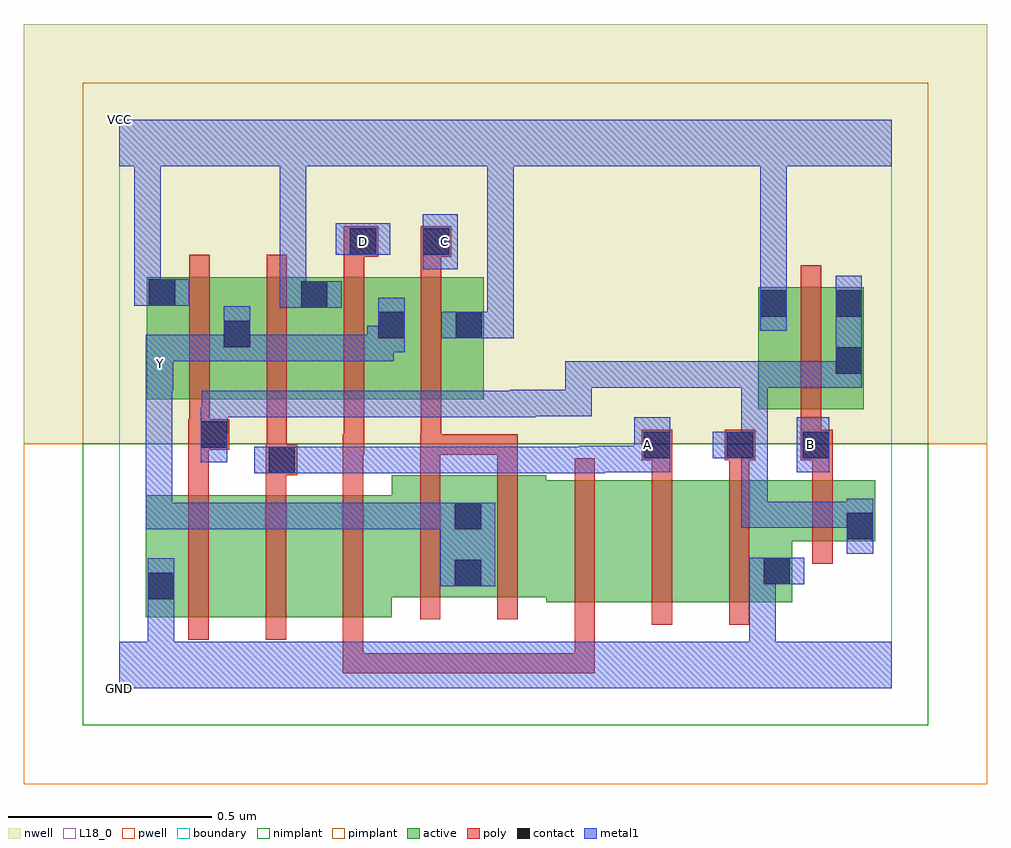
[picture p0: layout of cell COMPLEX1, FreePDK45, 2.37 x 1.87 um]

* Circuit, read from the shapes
.subckt COMPLEX1 A B C D GND VCC Y
M1 n1 n2 GND VSUBS nfet w=0.3u l=0.05u
M2 n3 A n1 VSUBS nfet w=0.3u l=0.05u
M3 n4 D n3 VSUBS nfet w=0.3u l=0.05u
M4 Y C n4 VSUBS nfet w=0.3u l=0.05u
M5 n5 C Y VSUBS nfet w=0.3u l=0.05u
M6 n6 D n5 VSUBS nfet w=0.3u l=0.05u
M7 n7 A n6 VSUBS nfet w=0.3u l=0.05u
M8 GND n2 n7 VSUBS nfet w=0.3u l=0.05u
M9 n2 B GND VSUBS nfet w=0.15u l=0.05u
M10 Y n2 VCC n8 pfet w=0.3u l=0.05u
M11 VCC A Y n8 pfet w=0.3u l=0.05u
M12 Y D VCC n8 pfet w=0.3u l=0.05u
M13 VCC C Y n8 pfet w=0.3u l=0.05u
M14 n2 B VCC n8 pfet w=0.3u l=0.05u
.ends

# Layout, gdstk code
import gdstk
lib = gdstk.Library(unit=1e-6, precision=1e-09)
def R(c, l, rs):  # rectangles x0, y0, x1, y1
    for r in rs: c.add(gdstk.rectangle(r[:2], r[2:], *l))
def A(c, l, x, y, w, h, nx, ny, dx, dy):  # array of equal rectangles
    R(c, l, [(x+i*dx, y+j*dy, x+i*dx+w, y+j*dy+h) for i in range(nx) for j in range(ny)])
active = (1, 0)
pwell = (2, 0)
nwell = (3, 0)
nimplant = (4, 0)
pimplant = (5, 0)
poly = (9, 0)
contact = (10, 0)
metal1 = (11, 0)
L18_0 = (18, 0)
boundary = (235, 0)

complex1 = lib.new_cell('COMPLEX1')
A(complex1, active, 0.252, 0.712, 0.265, 0.3, 3, 1, 0.19, 0)
R(complex1, active, [(0.065,0.175,0.29,0.475), (0.065,0.175,0.14,0.475), (0.29,0.175,0.48,0.475), (0.48,0.175,0.67,0.475), (1.05,0.212,1.24,0.512), (1.24,0.212,1.43,0.512), (1.43,0.212,1.655,0.512), (0.67,0.225,0.895,0.525), (0.82,0.225,1.05,0.525), (0.82,0.225,0.895,0.517), (1.58,0.252,1.655,0.362), (1.58,0.362,1.86,0.512), (1.785,0.362,1.86,0.512), (1.572,0.687,1.647,0.987), (1.572,0.687,1.832,0.987), (1.757,0.687,1.832,0.985), (0.067,0.712,0.142,1.012), (0.067,0.712,0.327,1.012), (0.822,0.712,0.897,1.012), (0.252,0.737,0.327,0.957), (0.632,0.775,0.707,0.967), (0.442,0.867,0.517,1.012)])
R(complex1, pwell, [(-0.235,-0.235,2.135,0.602)])
R(complex1, nwell, [(-0.235,0.602,2.135,1.635)])
R(complex1, nimplant, [(-0.09,-0.09,1.99,0.602)])
R(complex1, pimplant, [(-0.09,0.602,1.99,1.49)])
A(complex1, poly, 0.17, 0.12, 0.05, 0.41, 3, 1, 0.19, 0)
A(complex1, poly, 1.12, 0.157, 0.05, 0.41, 3, 1, 0.19, 0)
A(complex1, poly, 0.172, 0.657, 0.05, 0.41, 4, 1, 0.19, 0)
R(complex1, poly, [(0.55,0.037,0.6,0.087), (0.55,0.037,0.6,0.087), (0.55,0.037,0.6,0.087), (0.55,0.037,0.847,0.087), (0.55,0.037,0.6,0.17), (0.797,0.037,0.847,0.087), (0.797,0.037,1.037,0.087), (0.987,0.037,1.037,0.087), (0.987,0.037,1.037,0.087), (0.987,0.037,1.037,0.087), (0.987,0.037,1.17,0.087), (1.12,0.037,1.17,0.207), (1.12,0.037,1.17,0.087), (1.12,0.037,1.17,0.087), (1.12,0.037,1.17,0.087), (0.74,0.17,0.79,0.58), (0.93,0.17,0.98,0.58), (1.705,0.307,1.755,0.567), (0.17,0.48,0.22,0.637), (0.36,0.48,0.41,0.575), (0.55,0.48,0.6,0.625), (1.31,0.517,1.36,0.612), (1.5,0.517,1.55,0.612), (1.705,0.517,1.755,0.612), (0.36,0.525,0.437,0.6), (0.74,0.53,0.79,0.625), (0.93,0.53,0.98,0.625), (0.362,0.55,0.412,0.707), (1.285,0.562,1.36,0.637), (1.49,0.562,1.565,0.637), (1.677,0.562,1.755,0.637), (0.55,0.575,0.602,0.625), (0.552,0.575,0.602,0.707), (0.74,0.575,0.792,0.625), (0.742,0.575,0.792,0.625), (0.742,0.575,0.792,0.625), (0.742,0.575,0.98,0.625), (0.742,0.575,0.792,0.707), (0.93,0.575,0.98,0.625), (0.17,0.587,0.27,0.662), (1.677,0.587,1.727,0.682), (0.172,0.612,0.222,0.707), (1.677,0.632,1.727,1.042), (0.552,1.017,0.602,1.112), (0.742,1.017,0.792,1.112), (0.552,1.062,0.637,1.137), (0.742,1.062,0.817,1.137)])
R(complex1, contact, [(0.07,0.22,0.135,0.285), (0.825,0.252,0.89,0.317), (1.585,0.257,1.65,0.322), (1.79,0.367,1.855,0.432), (0.825,0.392,0.89,0.457), (0.367,0.53,0.432,0.595), (1.29,0.567,1.355,0.632), (1.495,0.567,1.56,0.632), (1.682,0.567,1.747,0.632), (0.2,0.592,0.265,0.657), (1.762,0.775,1.827,0.84), (0.257,0.84,0.322,0.905), (0.637,0.862,0.702,0.927), (0.827,0.862,0.892,0.927), (1.577,0.915,1.642,0.98), (1.762,0.915,1.827,0.98), (0.447,0.937,0.512,1.002), (0.072,0.942,0.137,1.007), (0.567,1.067,0.632,1.132), (0.747,1.067,0.812,1.132)])
R(complex1, metal1, [(0,0,1.9,0.115), (0.07,0.05,0.135,0.115), (0.07,0.05,0.135,0.115), (0.07,0.05,0.135,0.25), (1.55,0.05,1.615,0.322), (0.07,0.185,0.135,0.32), (0.79,0.252,0.925,0.457), (1.55,0.257,1.615,0.322), (1.55,0.257,1.615,0.322), (1.55,0.257,1.685,0.322), (1.79,0.332,1.855,0.467), (0.065,0.392,0.13,0.457), (0.065,0.392,0.13,0.457), (0.065,0.392,0.13,0.457), (0.065,0.392,0.27,0.457), (0.065,0.392,0.13,0.797), (0.205,0.392,0.27,0.457), (0.205,0.392,0.46,0.457), (0.395,0.392,0.46,0.457), (0.395,0.392,0.46,0.457), (0.395,0.392,0.46,0.457), (0.395,0.392,0.675,0.457), (0.61,0.392,0.675,0.457), (0.61,0.392,0.675,0.457), (0.61,0.392,0.675,0.457), (0.61,0.392,0.855,0.457), (0.79,0.392,0.855,0.457), (0.79,0.392,0.855,0.457), (1.53,0.395,1.595,0.46), (1.53,0.395,1.855,0.46), (1.53,0.395,1.595,0.632), (1.79,0.395,1.855,0.46), (1.79,0.395,1.855,0.46), (0.332,0.53,0.467,0.595), (0.402,0.53,0.467,0.595), (0.402,0.53,0.467,0.595), (0.402,0.53,0.675,0.595), (0.61,0.53,0.675,0.595), (0.61,0.53,0.675,0.595), (0.61,0.53,0.675,0.595), (0.61,0.53,0.887,0.595), (0.822,0.53,0.887,0.595), (0.822,0.53,0.887,0.595), (0.822,0.53,0.887,0.595), (0.822,0.53,1.025,0.595), (0.96,0.53,1.025,0.595), (0.96,0.53,1.025,0.595), (0.96,0.53,1.025,0.595), (0.96,0.53,1.195,0.595), (1.13,0.53,1.195,0.595), (1.13,0.53,1.195,0.595), (1.13,0.53,1.195,0.597), (1.13,0.532,1.332,0.597), (1.267,0.532,1.355,0.667), (1.667,0.532,1.747,0.667), (0.2,0.557,0.265,0.692), (1.46,0.567,1.595,0.632), (1.53,0.567,1.595,0.632), (1.53,0.567,1.595,0.632), (1.53,0.567,1.595,0.805), (0.2,0.627,0.267,0.692), (0.202,0.627,0.267,0.692), (0.202,0.627,0.267,0.732), (0.202,0.667,0.267,0.732), (0.202,0.667,0.46,0.732), (0.395,0.667,0.46,0.732), (0.395,0.667,0.46,0.732), (0.395,0.667,0.46,0.732), (0.395,0.667,0.605,0.732), (0.54,0.667,0.605,0.732), (0.54,0.667,0.605,0.732), (0.54,0.667,0.605,0.732), (0.54,0.667,0.887,0.732), (0.822,0.667,0.887,0.732), (0.822,0.667,0.887,0.732), (0.822,0.667,0.887,0.732), (0.822,0.667,1.025,0.732), (0.96,0.667,1.025,0.732), (0.96,0.667,1.025,0.732), (0.96,0.667,1.025,0.735), (0.96,0.67,1.162,0.735), (1.097,0.67,1.162,0.735), (1.097,0.67,1.162,0.735), (1.097,0.67,1.162,0.805), (0.065,0.732,0.132,0.87), (1.097,0.74,1.387,0.805), (1.322,0.74,1.387,0.805), (1.322,0.74,1.387,0.805), (1.322,0.74,1.387,0.805), (1.322,0.74,1.595,0.805), (1.53,0.74,1.595,0.805), (1.53,0.74,1.595,0.805), (1.53,0.74,1.595,0.805), (1.53,0.74,1.827,0.805), (1.762,0.74,1.827,0.805), (1.762,0.74,1.827,0.805), (1.762,0.74,1.827,1.015), (0.065,0.805,0.13,0.87), (0.065,0.805,0.13,0.87), (0.065,0.805,0.13,0.87), (0.065,0.805,0.13,0.87), (0.065,0.805,0.13,0.87), (0.065,0.805,0.13,0.87), (0.065,0.805,0.322,0.87), (0.257,0.805,0.322,0.94), (0.257,0.805,0.46,0.87), (0.395,0.805,0.46,0.87), (0.395,0.805,0.46,0.87), (0.395,0.805,0.46,0.87), (0.395,0.805,0.675,0.87), (0.61,0.805,0.675,0.892), (0.61,0.827,0.702,0.892), (0.637,0.827,0.702,0.962), (0.792,0.862,0.97,0.927), (0.905,0.862,0.97,0.927), (0.905,0.862,0.97,0.927), (0.905,0.862,0.97,0.927), (0.905,0.862,0.97,0.927), (0.905,0.862,0.97,1.35), (1.577,0.88,1.642,1.015), (0.395,0.937,0.46,1.35), (0.395,0.937,0.547,1.002), (0.037,0.942,0.102,1.007), (0.037,0.942,0.102,1.007), (0.037,0.942,0.172,1.007), (0.037,0.942,0.102,1.35), (1.577,0.95,1.642,1.015), (1.577,0.95,1.642,1.015), (1.577,0.95,1.642,1.015), (1.577,0.95,1.642,1.015), (1.577,0.95,1.642,1.35), (0.747,1.032,0.832,1.167), (0.532,1.067,0.667,1.145), (0,1.285,1.9,1.4), (0.037,1.285,0.102,1.35), (0.037,1.285,0.102,1.35), (0.395,1.285,0.46,1.35), (0.395,1.285,0.46,1.35), (0.395,1.285,0.46,1.35), (0.395,1.285,0.46,1.35)])
R(complex1, L18_0, [(0,0,1.9,0.115), (0.07,0.05,0.135,0.115), (0.07,0.05,0.135,0.115), (0.07,0.05,0.135,0.25), (1.55,0.05,1.615,0.322), (0.07,0.185,0.135,0.32), (0.79,0.252,0.925,0.457), (1.55,0.257,1.615,0.322), (1.55,0.257,1.615,0.322), (1.55,0.257,1.685,0.322), (0.065,0.392,0.13,0.457), (0.065,0.392,0.13,0.457), (0.065,0.392,0.13,0.457), (0.065,0.392,0.13,0.797), (0.065,0.392,0.27,0.457), (0.205,0.392,0.27,0.457), (0.205,0.392,0.46,0.457), (0.395,0.392,0.46,0.457), (0.395,0.392,0.46,0.457), (0.395,0.392,0.46,0.457), (0.395,0.392,0.675,0.457), (0.61,0.392,0.675,0.457), (0.61,0.392,0.675,0.457), (0.61,0.392,0.675,0.457), (0.61,0.392,0.855,0.457), (0.79,0.392,0.855,0.457), (0.79,0.392,0.855,0.457), (0.332,0.53,0.467,0.595), (0.402,0.53,0.467,0.595), (0.402,0.53,0.467,0.595), (0.402,0.53,0.675,0.595), (0.61,0.53,0.675,0.595), (0.61,0.53,0.675,0.595), (0.61,0.53,0.675,0.595), (0.61,0.53,0.887,0.595), (0.822,0.53,0.887,0.595), (0.822,0.53,0.887,0.595), (0.822,0.53,0.887,0.595), (0.822,0.53,1.025,0.595), (0.96,0.53,1.025,0.595), (0.96,0.53,1.025,0.595), (0.96,0.53,1.025,0.595), (0.96,0.53,1.195,0.595), (1.13,0.53,1.195,0.595), (1.13,0.53,1.195,0.595), (1.13,0.53,1.195,0.597), (1.13,0.532,1.332,0.597), (1.267,0.532,1.355,0.667), (1.667,0.532,1.747,0.667), (1.267,0.567,1.332,0.632), (1.667,0.567,1.732,0.632), (0.065,0.732,0.132,0.87), (0.067,0.767,0.132,0.832), (0.065,0.805,0.13,0.87), (0.065,0.805,0.13,0.87), (0.065,0.805,0.13,0.87), (0.065,0.805,0.13,0.87), (0.065,0.805,0.13,0.87), (0.065,0.805,0.13,0.87), (0.065,0.805,0.322,0.87), (0.257,0.805,0.322,0.94), (0.257,0.805,0.46,0.87), (0.395,0.805,0.46,0.87), (0.395,0.805,0.46,0.87), (0.395,0.805,0.46,0.87), (0.395,0.805,0.675,0.87), (0.61,0.805,0.675,0.892), (0.61,0.827,0.702,0.892), (0.637,0.827,0.702,0.962), (0.792,0.862,0.97,0.927), (0.905,0.862,0.97,0.927), (0.905,0.862,0.97,0.927), (0.905,0.862,0.97,0.927), (0.905,0.862,0.97,0.927), (0.905,0.862,0.97,1.35), (1.577,0.88,1.642,1.015), (0.395,0.937,0.547,1.002), (0.395,0.937,0.46,1.35), (0.037,0.942,0.102,1.007), (0.037,0.942,0.102,1.007), (0.037,0.942,0.172,1.007), (0.037,0.942,0.102,1.35), (1.577,0.95,1.642,1.015), (1.577,0.95,1.642,1.015), (1.577,0.95,1.642,1.015), (1.577,0.95,1.642,1.015), (1.577,0.95,1.642,1.35), (0.747,1.032,0.832,1.167), (0.532,1.067,0.667,1.145), (0.567,1.067,0.632,1.132), (0.767,1.067,0.832,1.132), (0,1.285,1.9,1.4), (0.037,1.285,0.102,1.35), (0.037,1.285,0.102,1.35), (0.395,1.285,0.46,1.35), (0.395,1.285,0.46,1.35), (0.395,1.285,0.46,1.35), (0.395,1.285,0.46,1.35)])
R(complex1, boundary, [(0,0,1.9,1.4)])
complex1.add(gdstk.Label('A', (1.3,0.6), layer=11, texttype=0))
complex1.add(gdstk.Label('B', (1.7,0.6), layer=11, texttype=0))
complex1.add(gdstk.Label('C', (0.8,1.1), layer=11, texttype=0))
complex1.add(gdstk.Label('D', (0.6,1.1), layer=11, texttype=0))
complex1.add(gdstk.Label('Y', (0.1,0.8), layer=11, texttype=0))
complex1.add(gdstk.Label('VCC', (0,1.4), layer=11, texttype=0))
complex1.add(gdstk.Label('GND', (0,0), layer=11, texttype=0))

lib.write_gds('COMPLEX1.gds')
